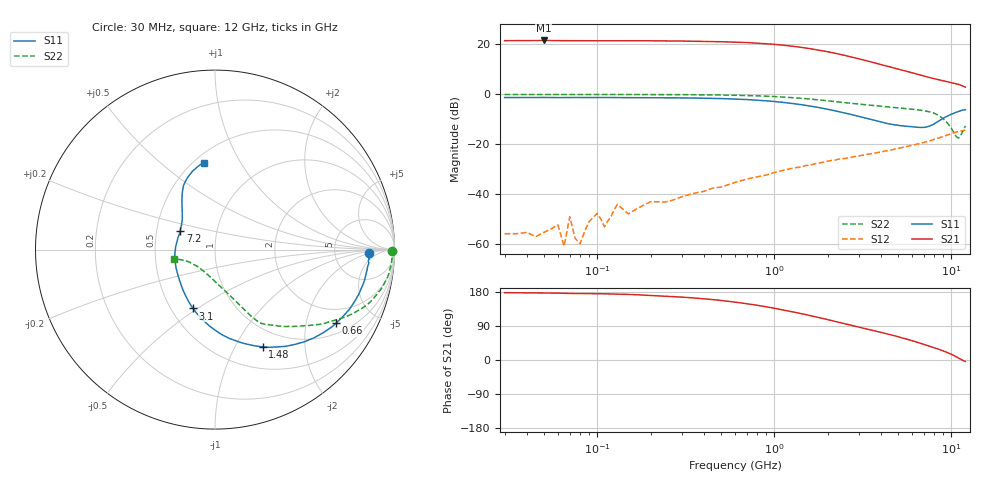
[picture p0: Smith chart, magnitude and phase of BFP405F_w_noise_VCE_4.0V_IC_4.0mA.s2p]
! Infineon Technologies  Discrete & RF Semiconductors
! BFP405F
! VCE =  4.0 V,  IC =  4.0 mA
! Common Emitter S-Parameters:  Nov 2015
# GHz  S  MA  R  50
!  f  S11  S21  S12  S22
! GHz  MAG  ANG  MAG  ANG  MAG  ANG  MAG  ANG
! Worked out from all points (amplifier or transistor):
!   239 points, 30 MHz to 12 GHz, reference 50 ohm
!   highest |S21| = 21.6 dB at 50 MHz (marker M1)
!   |S21| within 3 dB of that: start of sweep to 1.497 GHz
!   unconditionally stable (mu >= 1): 64.78 MHz to 65.43 MHz; 3.223 GHz to end of sweep
!   at 300 MHz: K = 0.11, MSG = 31.2 dB, |S12| = -41.1 dB
!   at 1.88 GHz: K = 0.58, MSG = 22.3 dB, |S12| = -27.3 dB
!   at 12 GHz: K = 1.49, MAG = 4.5 dB, |S12| = -14.4 dB
!   lowest NFmin = 1.20 dB at 450 MHz
!   S11 on the Smith chart (normalised r, x): 30 MHz: 13, -2; 660 MHz: 1.38, -2.99; 1.48 GHz: 0.76, -1.30; 3.1 GHz: 0.64, -0.48; 7.2 GHz: 0.66, +0.14; 12 GHz: 0.56, +0.71
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0.03  0.857 -1.2  11.86 177.6  0.0016 34.2  0.9874 -0.6
0.05  0.8622 -2.6  11.96 176.7  0.0017 115.5  0.9885 -1.1
0.06  0.8551 -2.7  11.83 176.5  0.0024 105.1  0.9899 -0.9
0.065  0.8582 -3.1  11.84 176.0  0.0009 -6.2  0.989 -1.1
0.07  0.8613 -3.4  11.85 175.6  0.0035 -45.9  0.9881 -1.4
0.08  0.8575 -3.6  11.79 175.3  0.001 103.3  0.9895 -1.6
0.085  0.857 -3.9  11.81 175.4  0.0018 73.1  0.9883 -1.8
0.11  0.86 -5.4  11.79 174.5  0.0022 79.5  0.9881 -2.5
0.13  0.8564 -6.4  11.76 173.6  0.0062 84.1  0.9875 -3.0
0.24  0.8502 -11.6  11.7 168.7  0.0069 77.3  0.9844 -5.3
0.4  0.8329 -19.4  11.49 161.5  0.0113 80.0  0.9756 -8.7
0.6  0.8004 -28.6  11.08 152.7  0.0171 76.4  0.9543 -12.9
0.66  0.789 -31.3  10.94 150.3  0.0188 75.8  0.946 -14.0
1  0.7158 -45.8  9.99 136.6  0.0269 70.5  0.8975 -20.3
1.48  0.6039 -63.8  8.518 120.5  0.0366 64.5  0.819 -27.2
1.64  0.57 -69.2  8.05 115.9  0.039 62.4  0.7932 -29.1
2.28  0.4531 -89.1  6.458 100.2  0.0494 58.1  0.7045 -36.4
3.1  0.3498 -110.5  4.984 85.4  0.0595 54.5  0.627 -42.9
4.5  0.2538 -143.8  3.528 67.0  0.0761 51.5  0.5548 -50.2
7.2  0.2192 152.0  2.256 39.4  0.1108 45.7  0.4584 -59.6
10.8  0.4429 108.1  1.601 7.0  0.1765 30.3  0.1358 -118.7
12  0.4889 97.0  1.39 -3.9  0.1908 23.8  0.2314 -167.4
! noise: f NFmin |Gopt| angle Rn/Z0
0.45  1.2  0.44  5  0.35
0.9  1.21  0.41  13  0.38
1.5  1.29  0.38  19  0.33
1.9  1.32  0.36  25  0.33
2.4  1.49  0.34  35  0.35
3  1.56  0.32  46  0.32
3.5  1.61  0.31  55  0.29
4.5  1.77  0.24  70  0.26
5.5  2  0.15  83  0.16
